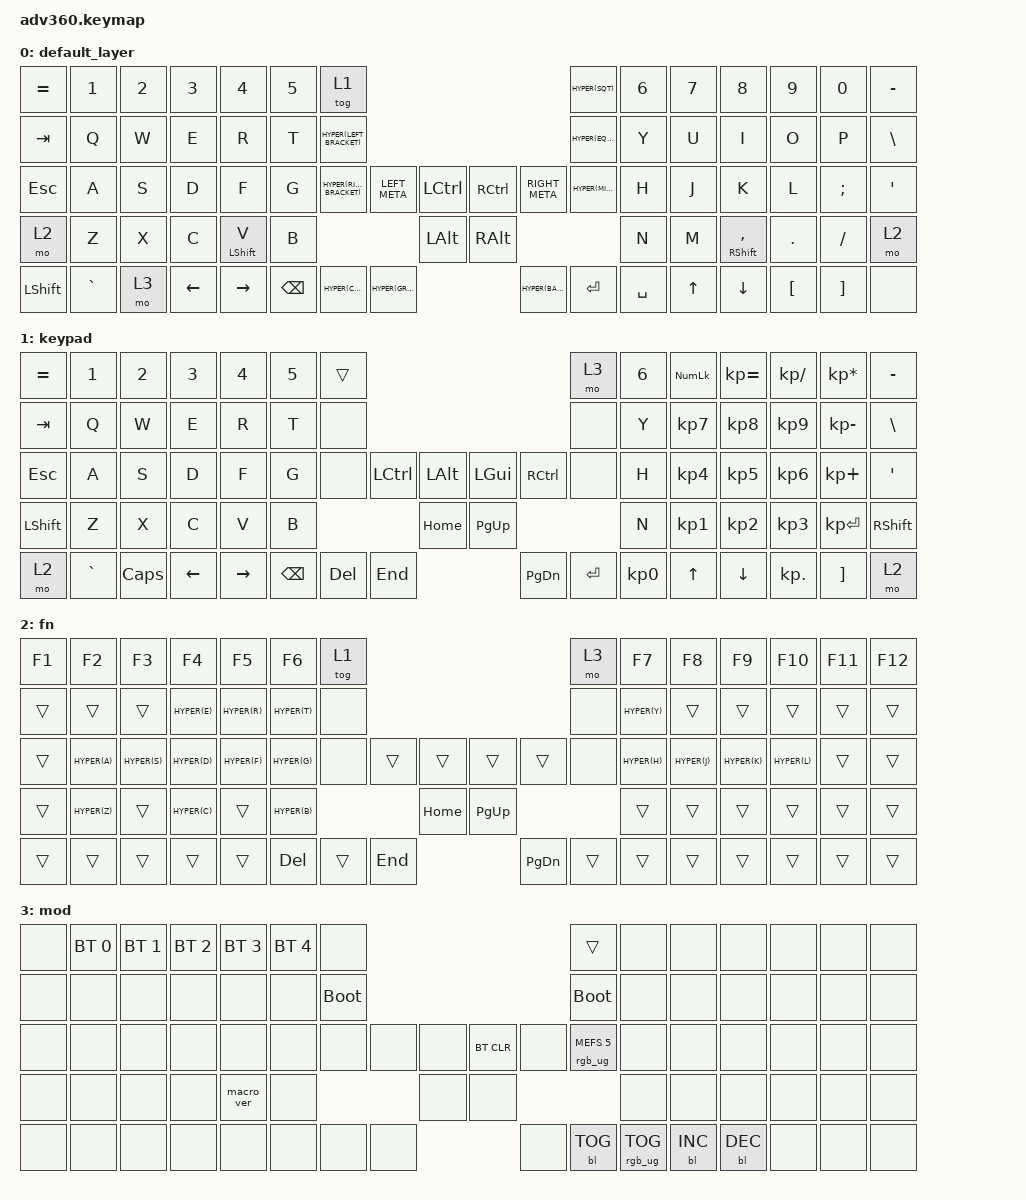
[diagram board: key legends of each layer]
#include <behaviors.dtsi>
#include <dt-bindings/zmk/keys.h>
#include <dt-bindings/zmk/bt.h>
#include <dt-bindings/zmk/rgb.h>
#include <dt-bindings/zmk/backlight.h>


#define HYPER(key) LS(LC(LA(LG(key))))

/ {
    behaviors {
      #include "macros.dtsi"
      #include "version.dtsi"
      #ifndef VERSION_MACRO
      macro_ver: macro_ver {
        compatible = "zmk,behavior-macro";
        label = "macro_version";
        #binding-cells = <0>;
        bindings = <&kp RET>;
      };
      #endif

      // lh_pht: left_hand_positional_hold_tap {
      //     compatible = "zmk,behavior-hold-tap";
      //     label = "LEFT_POSITIONAL_HOLD_TAP";
      //     #binding-cells = <2>;
      //     flavor = "tap-unless-interrupted";
      //     tapping-term-ms = <100>;                        // <---[[produces tap if held longer than tapping-term-ms]]
      //     quick-tap-ms = <200>;
      //     bindings = <&kp>, <&kp>;
      //     hold-trigger-key-positions = <
      //     8 9 10 11 12 13
      //     22 23 24 25 26 27
      //     42 43 44 45 46 47
      //     62 63 64 65 66
      //     81 82
      //     >;    // <---[[right-hand keys]]
      // };


        hm: homerow_mods {
            compatible = "zmk,behavior-hold-tap";
            label = "HOMEROW_MODS";
            #binding-cells = <2>;
            tapping-term-ms = <200>;
            quick-tap-ms = <0>;
            flavor = "tap-preferred";
            bindings = <&kp>, <&kp>;
            retro-tap;
        };
    };

  keymap {
    compatible = "zmk,keymap";

    default_layer {
      bindings = <
/* Left Half - Numbers Row - 7 keys. Trigger positions 0 - 6. */
&kp EQUAL &kp N1    &kp N2   &kp N3   &kp N4     &kp N5 &tog 1

/* Right Half - Numbers Row - 7 keys. Trigger positions 7 - 13. */
&kp HYPER(SQT) &kp N6 &kp N7 &kp N8    &kp N9   &kp N0   &kp MINUS

/* Left Half - Q Row - 7 keys. Trigger positions 14 - 20. */
&kp TAB   &kp Q     &kp W    &kp E    &kp R      &kp T   &kp HYPER(LEFT_BRACKET)

/* Right Half - Y Row - 7 keys. Trigger positions 21 - 27. */
&kp HYPER(EQUAL)  &kp Y  &kp U  &kp I     &kp O    &kp P    &kp BSLH

/* Left Half - A Row - 7 keys. Trigger positions 28 - 34. */
&kp ESC   &kp A     &kp S    &kp D    &kp F      &kp G &kp HYPER(RIGHT_BRACKET)

/* Left Half - Thumb Cluster First Row - 2 keys. Trigger positions 35 - 36. */
&kp LEFT_META     &kp LEFT_CONTROL

/* Right Half - Thumb Cluster First Row - 2 keys. Trigger positsion 39 - 40. */
&kp RIGHT_CONTROL  &kp RIGHT_META

/* Right Half - H Row - 7 keys. Trigger positions 41 - 47. */
&kp HYPER(MINUS)  &kp H  &kp J  &kp K     &kp L    &kp SEMI &kp SQT

/* Left Half - Z Row - 6 keys. Trigger positions 48 - 53. */
&mo 2 &kp Z     &kp X    &kp C    &hm LSHIFT V      &kp B

/* Left Half - Thumb Cluster Second Row Rightmost Key - 1 keys. Trigger position 56. */
&kp LEFT_ALT

/* Right Half - Thumb Cluster Second Row Leftmost Key- 1 keys. Trigger position 59. */
&kp RIGHT_ALT

/* Right Half - N Row - 6 keys. Trigger positions 62 - 67. */
&kp N  &kp M  &hm RSHIFT COMMA &kp DOT  &kp FSLH &mo 2

/* Left Half - Last Row - 5 keys. Trigger positions 68 - 72. */
&kp LSHFT     &kp GRAVE &mo 3 &kp LEFT &kp RIGHT

/* Left Half - Thumb Cluster Last Row - 3 keys. Trigger positions 73 - 75. */
&kp BACKSPACE  &kp HYPER(COMMA)  &kp HYPER(GRAVE)

/* Right Half - Thumb Cluster Last Row - 3 keys. Trigger positions 76 - 78. */
&kp HYPER(BACKSLASH)  &kp ENTER  &kp SPACE

/* Right Half - Last Row - 5 keys. Trigger positions 79 - 83 */
&kp UP &kp DOWN  &kp LBKT &kp RBKT &none
      >;
    };
    keypad {
      bindings = <
        &kp EQUAL &kp N1    &kp N2   &kp N3   &kp N4     &kp N5 &trans                                                           &mo 3 &kp N6 &kp KP_NUM &kp KP_EQUAL &kp KP_DIVIDE &kp KP_MULTIPLY &kp MINUS
        &kp TAB   &kp Q     &kp W    &kp E    &kp R      &kp T  &none                                                            &none &kp Y  &kp KP_N7  &kp KP_N8    &kp KP_N9     &kp KP_MINUS    &kp BSLH
        &kp ESC   &kp A     &kp S    &kp D    &kp F      &kp G  &none           &kp LCTRL &kp LALT &kp LGUI  &kp RCTRL           &none &kp H  &kp KP_N4  &kp KP_N5    &kp KP_N6     &kp KP_PLUS     &kp SQT
        &kp LSHFT &kp Z     &kp X    &kp C    &kp V      &kp B                            &kp HOME &kp PG_UP                           &kp N  &kp KP_N1  &kp KP_N2    &kp KP_N3     &kp KP_ENTER    &kp RSHFT
        &mo 2     &kp GRAVE &kp CAPS &kp LEFT &kp RIGHT                &kp BSPC &kp DEL   &kp END  &kp PG_DN &kp ENTER &kp KP_N0              &kp UP     &kp DOWN     &kp KP_DOT    &kp RBKT        &mo 2
      >;
    };
    fn {
      bindings = <
/* Left Half - Numbers Row - 7 keys */
&kp F1 &kp F2 &kp F3 &kp F4 &kp F5 &kp F6 &tog 1

/* Right Half - Numbers Row - 7 keys */
&mo 3 &kp F7 &kp F8 &kp F9 &kp F10 &kp F11 &kp F12

/* Left Half - Q Row - 7 keys */
 &trans  &trans &trans &kp HYPER(E) &kp HYPER(R)   &kp HYPER(T) &none


/* Right Half - Y Row - 7 keys */
&none  &kp HYPER(Y)  &trans  &trans   &trans   &trans   &trans

/* Left Half - A Row - 7 keys */
&trans  &kp HYPER(A)  &kp HYPER(S)   &kp HYPER(D)   &kp HYPER(F)  &kp HYPER(G)         &none

/* Left Half - Thumb Cluster First Row - 2 keys */
&trans &trans

/* Right Half - Thumb Cluster First Row - 2 keys */
&trans &trans

/* Right Half - H Row - 7 keys */
&none  &kp HYPER(H)  &kp HYPER(J)  &kp HYPER(K)  &kp HYPER(L)  &trans  &trans

/* Left Half - Z Row - 6 keys */
&trans  &kp HYPER(Z)  &trans &kp HYPER(C) &trans &kp HYPER(B)

/* Left Half - Thumb Cluster Second Row Rightmost Key - 1 keys */
&kp HOME

/* Right Half - Thumb Cluster Second Row Leftmost Key- 1 keys */
&kp PAGE_UP

/* Right Half - N Row - 6 keys */
&trans &trans &trans &trans  &trans  &trans

/* Left Half - Last Row - 5 keys */
&trans &trans &trans &trans &trans

/* Left Half - Thumb Cluster Last Row - 3 keys */
&kp DELETE &trans   &kp END

/* Right Half - Thumb Cluster Last Row - 3 keys */
&kp PAGE_DOWN  &trans  &trans

/* Right Half - Last Row - 5 keys */
&trans &trans &trans  &trans  &trans
      >;
    };
    mod {
      bindings = <
        &none &bt BT_SEL 0 &bt BT_SEL 1 &bt BT_SEL 2 &bt BT_SEL 3 &bt BT_SEL 4 &none                                                                     &trans                 &none        &none        &none        &none &none &none
        &none &none        &none        &none        &none        &none        &bootloader                                                               &bootloader            &none        &none        &none        &none &none &none
        &none &none        &none        &none        &none        &none        &none                   &none &none &bt BT_CLR &none                      &rgb_ug RGB_MEFS_CMD 5 &none        &none        &none        &none &none &none
        &none &none        &none        &none        &macro_ver   &none                                      &none &none                                                        &none        &none        &none        &none &none &none
        &none &none        &none        &none        &none                                       &none &none &none &none      &bl BL_TOG &rgb_ug RGB_TOG                                     &bl BL_INC   &bl BL_DEC   &none &none &none
      >;
    };
  };
};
